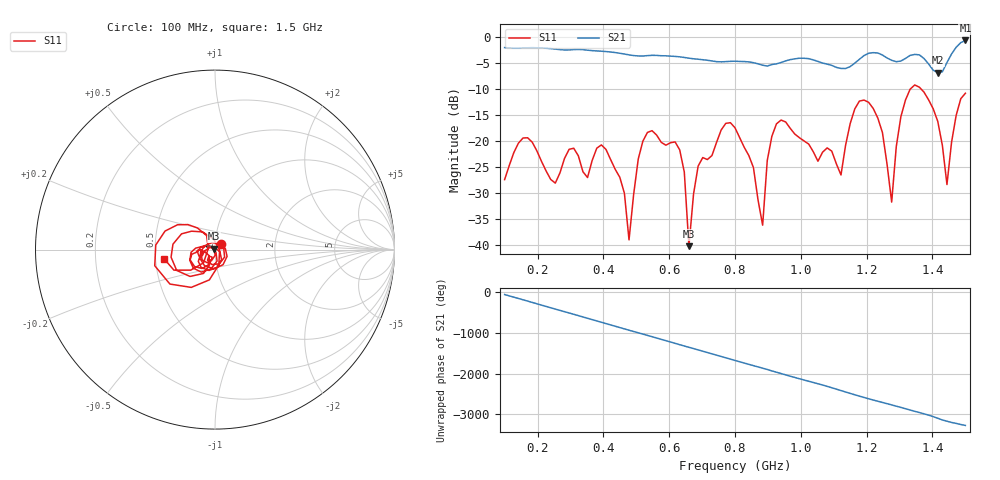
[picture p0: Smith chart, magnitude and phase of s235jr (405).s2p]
! NanoVNA-App
! Date: 2025-09-25 15:07:19
! Start: 100MHz Stop: 1,5GHz Points: 101
! S-Parameter data: F S11 S21 S12 S22
# Hz S RI R 50
!  Frequency  S11_Real  S11_Imag  S21_Real  S21_Imag  S12_Real  S12_Imag  S22_Real  S22_Imag
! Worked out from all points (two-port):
!   101 points, 100 MHz to 1.5 GHz, reference 50 ohm
!   highest |S21| = -0.58 dB at 1.5 GHz (marker M1); lowest = -6.8 dB at 1.416 GHz (marker M2)
!   |S21| within 3 dB of the highest: start of sweep to 514.7 MHz; 521.5 MHz to 596.9 MHz (75.4 MHz wide, 13.5 % of centre) (the widest 2 of 5)
!   lowest |S11| = -40.3 dB at 660 MHz (marker M3), VSWR 1.02, Z = 49.2 + j0.543 ohm
!   |S11| at or under -10 dB: start of sweep to 1.332 GHz; 1.366 GHz to end of sweep
!   S12 and S22 are empty: the file has one direction only
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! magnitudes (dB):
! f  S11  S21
! 100 MHz  -27.5  -2.0
! 156 MHz  -19.4  -2.0
! 338 MHz  -25.9  -2.4
! 408 MHz  -21.6  -2.7
! 478 MHz  -39.1  -3.4
! 520 MHz  -20.1  -3.6
! 576 MHz  -20.3  -3.5
! 632 MHz  -21.7  -3.7
! 660 MHz  -40.3  -4.0
! 688 MHz  -24.8  -4.2
! 800 MHz  -17.4  -4.6
! 884 MHz  -36.3  -5.4
! 898 MHz  -23.8  -5.5
! 926 MHz  -16.7  -5.1
! 1.038 GHz  -22.1  -4.3
! 1.122 GHz  -26.6  -6.0
! 1.206 GHz  -12.5  -3.1
! 1.276 GHz  -31.8  -4.4
! 1.332 GHz  -10.0  -3.5
! 1.416 GHz  -16.2  -6.8
! 1.444 GHz  -28.4  -4.9
! 1.5 GHz  -10.8  -0.6
